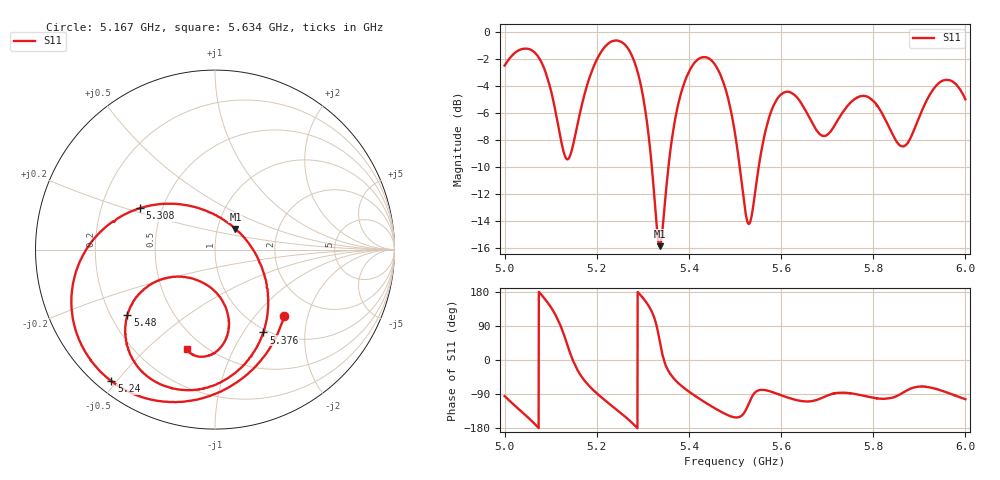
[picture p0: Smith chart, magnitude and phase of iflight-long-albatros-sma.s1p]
# HZ S RI R 50
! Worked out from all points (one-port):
!   2020 points, 5 GHz to 6 GHz, reference 50 ohm
!   lowest |S11| = -15.8 dB at 5.337 GHz (marker M1), VSWR 1.39, Z = 61 + j14.3 ohm
!   |S11| at or under -10 dB: 5.32 GHz to 5.355 GHz (35.78 MHz wide, 0.67 % of centre); 5.51 GHz to 5.551 GHz (40.93 MHz wide, 0.74 % of centre)
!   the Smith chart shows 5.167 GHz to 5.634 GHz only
!   S11 on the Smith chart (normalised r, x): 5.167 GHz: 1.40, -1.43; 5.24 GHz: 0.04, -0.48; 5.308 GHz: 0.37, +0.22; 5.376 GHz: 0.96, -1.24; 5.48 GHz: 0.27, -0.31; 5.634 GHz: 0.41, -0.67
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5e9  -0.0677 -0.7506
5.031699e9  -0.5622 -0.6504
5.068351e9  -0.825 -0.1083
5.100545e9  -0.4605 0.3997
5.12531e9  0.0756 0.3696
5.146112e9  0.3663 0.0345
5.166914e9  0.3855 -0.3674
5.204557e9  -0.039 -0.818
5.240218e9  -0.5772 -0.733
5.250124e9  -0.6933 -0.6155
5.279346e9  -0.7826 -0.1518
5.308073e9  -0.4178 0.2308
5.337296e9  0.114 0.1145
5.375434e9  0.2713 -0.4547
5.375929e9  0.2694 -0.4614
5.423477e9  -0.1786 -0.782
5.480436e9  -0.4878 -0.3648
5.500248e9  -0.3692 -0.201
5.530956e9  -0.0731 -0.1816
5.567608e9  0.0773 -0.4355
5.625062e9  -0.1349 -0.578
5.633978e9  -0.1576 -0.5539
5.68846e9  -0.0725 -0.4084
5.750372e9  0.0267 -0.5485
5.819218e9  -0.1073 -0.4894
5.875186e9  0.0758 -0.383
5.927192e9  0.1727 -0.5793
6.000001e9  -0.1312 -0.5497
